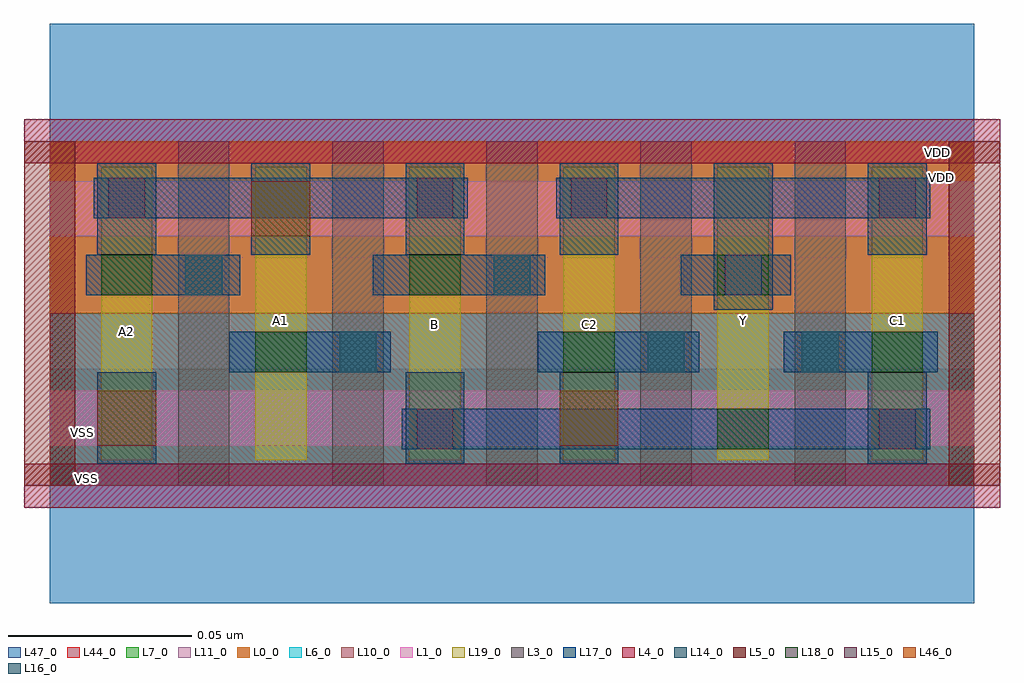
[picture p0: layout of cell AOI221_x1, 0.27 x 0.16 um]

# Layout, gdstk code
import gdstk
lib = gdstk.Library(unit=1e-6, precision=5e-10)
def R(c, l, rs):  # rectangles x0, y0, x1, y1
    for r in rs: c.add(gdstk.rectangle(r[:2], r[2:], *l))
def A(c, l, x, y, w, h, nx, ny, dx, dy):  # array of equal rectangles
    R(c, l, [(x+i*dx, y+j*dy, x+i*dx+w, y+j*dy+h) for i in range(nx) for j in range(ny)])
L0_0 = (0, 0)
L1_0 = (1, 0)
L3_0 = (3, 0)
L4_0 = (4, 0)
L5_0 = (5, 0)
L6_0 = (6, 0)
L7_0 = (7, 0)
L10_0 = (10, 0)
L11_0 = (11, 0)
L14_0 = (14, 0)
L15_0 = (15, 0)
L16_0 = (16, 0)
L17_0 = (17, 0)
L18_0 = (18, 0)
L19_0 = (19, 0)
L44_0 = (44, 0)
L46_0 = (46, 0)
L47_0 = (47, 0)

aoi221_x1 = lib.new_cell('AOI221_x1')
R(aoi221_x1, L0_0, [(0,0.047,0.252,0.094)])
R(aoi221_x1, L1_0, [(0,0.011,0.252,0.026), (0,0.068,0.252,0.083)])
A(aoi221_x1, L3_0, 0.035, 0, 0.014, 0.094, 5, 1, 0.042, 0)
R(aoi221_x1, L4_0, [(-0.007,-0.006,0.259,0.006), (-0.007,0.088,0.259,0.1)])
R(aoi221_x1, L5_0, [(-0.007,0,0.007,0.094), (0.245,0,0.259,0.094)])
R(aoi221_x1, L6_0, [(0,0,0.252,0.047)])
R(aoi221_x1, L7_0, [(0,0.047,0.252,0.094)])
R(aoi221_x1, L10_0, [(0,0,0.252,0.047)])
R(aoi221_x1, L11_0, [(0,0.047,0.252,0.094)])
A(aoi221_x1, L14_0, 0.013, 0.063, 0.016, 0.025, 4, 1, 0.042, 0)
R(aoi221_x1, L14_0, [(0.013,0.006,0.029,0.031), (0.097,0.006,0.113,0.031), (0.139,0.006,0.155,0.031), (0.223,0.006,0.239,0.031), (0.181,0.048,0.197,0.088), (0.223,0.063,0.239,0.088)])
R(aoi221_x1, L15_0, [(0.1,0.01,0.11,0.021), (0.226,0.01,0.236,0.021), (0.184,0.052,0.194,0.063), (0.016,0.073,0.026,0.084), (0.1,0.073,0.11,0.084), (0.142,0.073,0.152,0.084), (0.226,0.073,0.236,0.084)])
R(aoi221_x1, L16_0, [(0.079,0.031,0.089,0.042), (0.163,0.031,0.173,0.042), (0.205,0.031,0.215,0.042), (0.037,0.052,0.047,0.063), (0.121,0.052,0.131,0.063)])
R(aoi221_x1, L17_0, [(0.096,0.01,0.24,0.021), (0.049,0.031,0.093,0.042), (0.133,0.031,0.177,0.042), (0.2,0.031,0.242,0.042), (0.01,0.052,0.052,0.063), (0.088,0.052,0.135,0.063), (0.172,0.052,0.202,0.063), (0.012,0.073,0.114,0.084), (0.138,0.073,0.24,0.084)])
A(aoi221_x1, L18_0, 0.056, 0.031, 0.014, 0.011, 3, 1, 0.084, 0)
A(aoi221_x1, L18_0, 0.014, 0.052, 0.014, 0.011, 3, 1, 0.084, 0)
R(aoi221_x1, L18_0, [(0.182,0.01,0.196,0.021)])
A(aoi221_x1, L19_0, 0.014, 0.007, 0.014, 0.08, 6, 1, 0.042, 0)
R(aoi221_x1, L44_0, [(0,0,0.252,0.094)])
R(aoi221_x1, L46_0, [(0.013,0.011,0.029,0.026), (0.139,0.011,0.155,0.026), (0.055,0.068,0.071,0.083)])
R(aoi221_x1, L47_0, [(0,-0.032,0.252,0.032), (0,0.062,0.252,0.126)])
aoi221_x1.add(gdstk.Label('VDD', (0.242,0.091), layer=0, texttype=2))
aoi221_x1.add(gdstk.Label('A2', (0.021,0.042), layer=19, texttype=2))
aoi221_x1.add(gdstk.Label('B', (0.105,0.044), layer=19, texttype=2))
aoi221_x1.add(gdstk.Label('C2', (0.147,0.044), layer=19, texttype=2))
aoi221_x1.add(gdstk.Label('A1', (0.063,0.045), layer=19, texttype=2))
aoi221_x1.add(gdstk.Label('C1', (0.231,0.045), layer=19, texttype=2))
aoi221_x1.add(gdstk.Label('Y', (0.189,0.045), layer=19, texttype=2))
aoi221_x1.add(gdstk.Label('VDD', (0.243,0.084), layer=47, texttype=2))
aoi221_x1.add(gdstk.Label('VSS', (0.009,0.0145), layer=47, texttype=2))
aoi221_x1.add(gdstk.Label('VSS', (0.01,0.002), layer=54, texttype=2))

lib.write_gds('AOI221_x1.gds')
